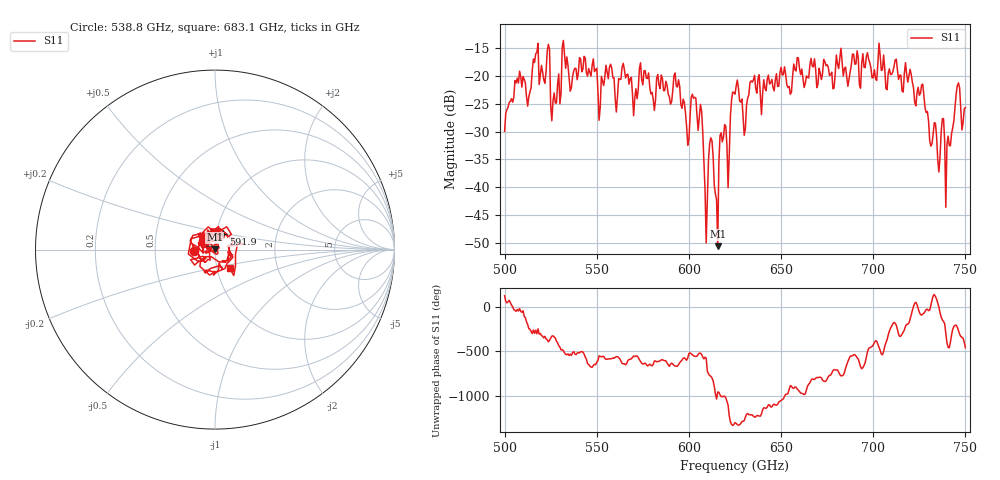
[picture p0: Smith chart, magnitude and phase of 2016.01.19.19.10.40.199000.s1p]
!Created with skrf (http://scikit-rf.org).
# GHz S RI R 50.0
!freq ReS11 ImS11
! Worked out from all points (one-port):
!   401 points, 500 GHz to 750 GHz, reference 50 ohm
!   lowest |S11| = -50.6 dB at 615.6 GHz (marker M1), VSWR 1.01, Z = 49.8 + j0.238 ohm
!   |S11| at or under -10 dB: start of sweep to end of sweep
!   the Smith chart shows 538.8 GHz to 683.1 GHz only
!   S11 on the Smith chart (normalised r, x): 538.8 GHz: 0.79, -0.01; 591.9 GHz: 1.08, +0.20; 683.1 GHz: 1.15, -0.24
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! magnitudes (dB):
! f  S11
! 500 GHz  -30.0
! 516.9 GHz  -16.0
! 523.1 GHz  -15.5
! 526.2 GHz  -24.5
! 531.2 GHz  -14.8
! 538.8 GHz  -18.7
! 562.5 GHz  -20.6
! 591.9 GHz  -19.9
! 593.8 GHz  -22.0
! 599.4 GHz  -32.5
! 602.5 GHz  -24.0
! 606.2 GHz  -25.1
! 609.4 GHz  -50.1
! 611.9 GHz  -31.1
! 615.6 GHz  -50.6
! 618.1 GHz  -31.8
! 621.2 GHz  -40.1
! 625 GHz  -23.3
! 630.6 GHz  -29.5
! 634.4 GHz  -21.1
! 656.2 GHz  -20.0
! 683.1 GHz  -17.5
! 687.5 GHz  -19.2
! 718.8 GHz  -21.1
! 735.6 GHz  -37.3
! 740.6 GHz  -30.8
! 745.6 GHz  -21.7
! 750 GHz  -25.7
